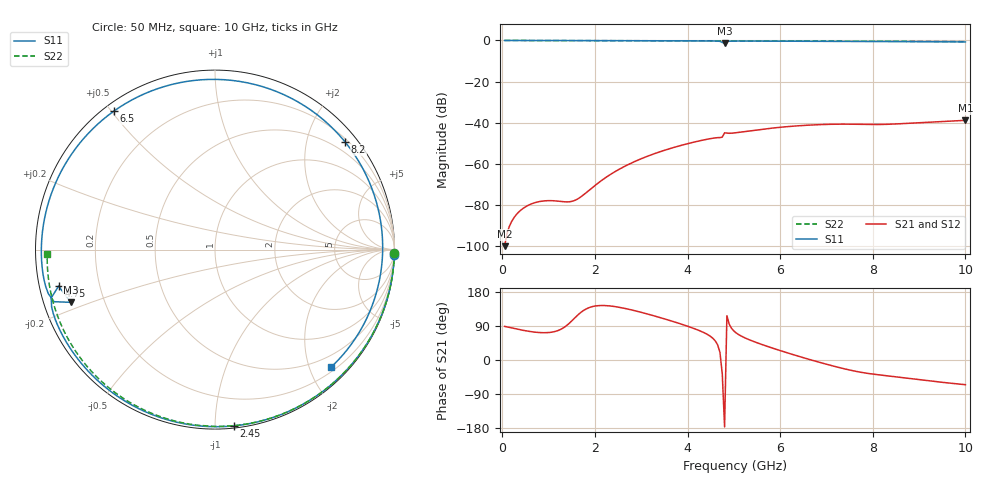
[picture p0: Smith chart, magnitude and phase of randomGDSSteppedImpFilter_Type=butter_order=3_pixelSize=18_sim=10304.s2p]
! freq	dB(S11)	phase(S11)	dB(S12)	phase(S12)
!  dB(S21)	phase(S21)	dB(S22)	phase(S22)
!S-par simulation data
#  GHz  S  DB  R 50
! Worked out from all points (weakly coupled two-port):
!   200 points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, 50 MHz to 10 GHz, reference 50 ohm
!   highest |S21| = -38.85 dB at 10 GHz (marker M1); lowest = -100.1 dB at 50 MHz (marker M2)
!   lowest |S11| = -1.4 dB at 4.8 GHz (marker M3), VSWR 12.84, Z = 4.02 - j8.8 ohm
!   |S11| at or under -10 dB: nowhere
!   |S22| runs from -0.6 to 0.0 dB; largest |S21 - S12| = 0
!   S11 on the Smith chart (normalised r, x): 50 MHz: 0, -65; 2.45 GHz: 0.01, -1.11; 4.75 GHz: 0.06, -0.11; 6.5 GHz: 0.03, +0.51; 8.2 GHz: 0.26, +2.75; 10 GHz: 0.28, -2.36
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0.05  -0.00 -1.8  -100.07 88.7  -100.07 88.7  -0.00 -1.0
0.7  -0.03 -24.4  -78.94 73.6  -78.94 73.6  -0.02 -14.3
1.45  -0.06 -50.1  -78.47 97.3  -78.47 97.3  -0.04 -29.4
1.75  -0.08 -60.3  -75.18 130.3  -75.18 130.3  -0.05 -35.3
2.45  -0.11 -83.8  -63.61 140.6  -63.61 140.6  -0.06 -49.0
3.4  -0.15 -115.5  -54.18 112.2  -54.18 112.2  -0.09 -66.8
4.25  -0.21 -144.9  -48.88 77.8  -48.88 77.8  -0.12 -82.1
4.65  -0.31 -160.7  -47.28 39.9  -47.28 39.9  -0.13 -89.2
4.75  -0.96 -166.9  -47.04 -36.2  -47.04 -36.2  -0.14 -90.9
4.8  -1.36 -159.9  -44.94 -176.5  -44.94 -176.5  -0.14 -91.7
4.9  -0.35 -165.2  -45.16 94.7  -45.16 94.7  -0.14 -93.5
5.05  -0.28 -172.1  -44.88 71.5  -44.88 71.5  -0.15 -96.0
5.8  -0.33 157.2  -42.70 32.8  -42.70 32.8  -0.19 -108.7
6.5  -0.40 126.2  -41.35 6.1  -41.35 6.1  -0.23 -120.2
6.7  -0.41 116.7  -41.10 -1.0  -41.10 -1.0  -0.24 -123.5
7.1  -0.45 97.0  -40.78 -14.5  -40.78 -14.5  -0.27 -130.0
7.45  -0.48 79.1  -40.72 -25.1  -40.72 -25.1  -0.30 -135.7
8.2  -0.53 39.6  -40.86 -40.1  -40.86 -40.1  -0.37 -147.9
8.35  -0.54 31.8  -40.76 -42.1  -40.76 -42.1  -0.38 -150.3
8.7  -0.57 13.8  -40.39 -47.1  -40.39 -47.1  -0.42 -156.1
9.1  -0.60 -5.9  -39.91 -53.1  -39.91 -53.1  -0.47 -162.8
10  -0.72 -45.5  -38.85 -65.1  -38.85 -65.1  -0.58 -178.4
